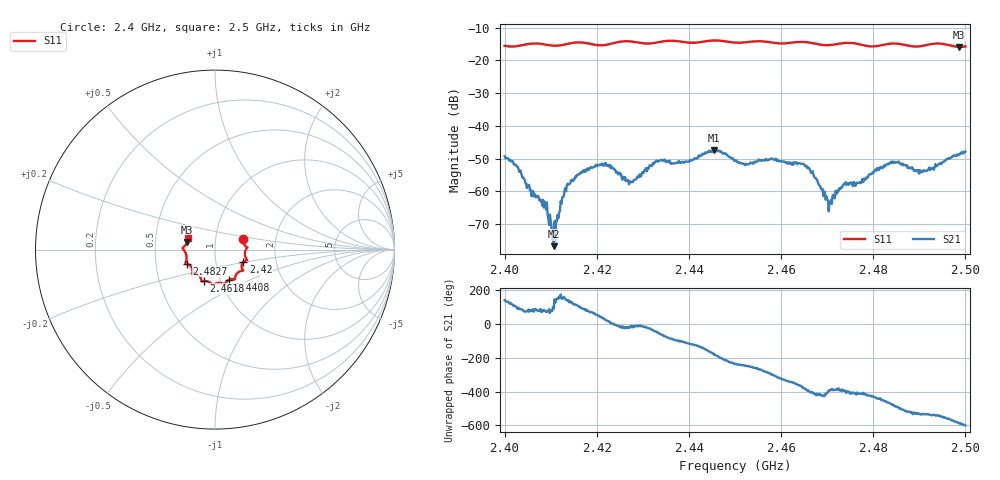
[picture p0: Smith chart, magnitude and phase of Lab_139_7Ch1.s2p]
# Hz S RI R 50
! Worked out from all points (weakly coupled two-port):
!   601 points, 2.4 GHz to 2.5 GHz, reference 50 ohm
!   highest |S21| = -47.40 dB at 2.4455 GHz (marker M1); lowest = -76.8 dB at 2.4107 GHz (marker M2)
!   lowest |S11| = -15.9 dB at 2.4987 GHz (marker M3), VSWR 1.38, Z = 36.5 + j3.22 ohm
!   |S11| at or under -10 dB: start of sweep to end of sweep
!   S12 and S22 are empty: the file has one direction only
!   S11 on the Smith chart (normalised r, x): 2.4 GHz: 1.36, +0.17; 2.42 GHz: 1.36, -0.19; 2.4408 GHz: 1.10, -0.38; 2.4618 GHz: 0.84, -0.30; 2.4827 GHz: 0.72, -0.12; 2.5 GHz: 0.73, +0.09
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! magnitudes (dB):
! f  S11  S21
! 2.4 GHz  -15.5  -49.3
! 2.4023 GHz  -15.7  -51.8
! 2.4087 GHz  -15.1  -63.1
! 2.4107 GHz  -15.5  -76.8
! 2.4135 GHz  -15.0  -58.2
! 2.4167 GHz  -14.5  -54.3
! 2.42 GHz  -15.3  -52.3
! 2.4222 GHz  -15.2  -52.2
! 2.4275 GHz  -14.2  -57.2
! 2.4333 GHz  -14.5  -50.9
! 2.4408 GHz  -14.6  -50.4
! 2.4455 GHz  -13.9  -47.4
! 2.45 GHz  -14.6  -50.5
! 2.4618 GHz  -14.6  -51.5
! 2.4667 GHz  -14.7  -54.3
! 2.4705 GHz  -15.3  -63.6
! 2.4735 GHz  -14.7  -58.1
! 2.4827 GHz  -15.1  -52.2
! 2.4833 GHz  -15.0  -51.7
! 2.4905 GHz  -15.6  -54.0
! 2.4987 GHz  -15.9  -48.8
! 2.5 GHz  -15.7  -47.9
